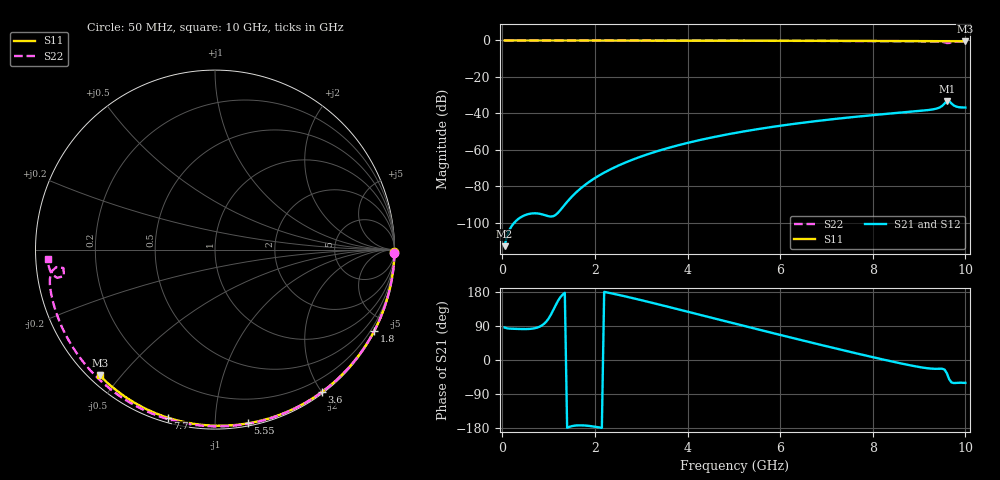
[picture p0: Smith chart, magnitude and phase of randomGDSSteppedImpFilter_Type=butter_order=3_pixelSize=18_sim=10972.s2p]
! freq	dB(S11)	phase(S11)	dB(S12)	phase(S12)
!  dB(S21)	phase(S21)	dB(S22)	phase(S22)
!S-par simulation data
#  GHz  S  DB  R 50
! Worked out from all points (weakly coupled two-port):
!   200 points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, 50 MHz to 10 GHz, reference 50 ohm
!   highest |S21| = -33.16 dB at 9.6 GHz (marker M1); lowest = -112.7 dB at 50 MHz (marker M2)
!   lowest |S11| = -0.4 dB at 10 GHz (marker M3), VSWR 39.00, Z = 1.53 - j22 ohm
!   |S11| at or under -10 dB: nowhere
!   |S22| runs from -1.4 to 0.0 dB; largest |S21 - S12| = 0
!   S11 on the Smith chart (normalised r, x): 50 MHz: open; 1.8 GHz: 0.04, -4.15; 3.6 GHz: 0.02, -2.00; 5.55 GHz: 0.02, -1.21; 7.7 GHz: 0.02, -0.76; 10 GHz: 0.03, -0.44
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0.05  -0.00 -0.8  -112.74 85.7  -112.74 85.7  -0.00 -1.1
0.85  -0.02 -12.9  -95.23 90.8  -95.23 90.8  -0.02 -17.7
1.75  -0.03 -26.4  -79.89 -172.7  -79.89 -172.7  -0.05 -36.0
1.8  -0.03 -27.1  -78.91 -173.1  -78.91 -173.1  -0.05 -37.0
2.1  -0.04 -31.5  -73.88 -178.0  -73.88 -178.0  -0.05 -43.0
2.5  -0.05 -37.4  -68.66 172.1  -68.66 172.1  -0.06 -50.9
2.9  -0.06 -43.1  -64.50 160.9  -64.50 160.9  -0.08 -58.6
3.4  -0.07 -50.2  -60.27 146.0  -60.27 146.0  -0.09 -68.0
3.6  -0.07 -53.0  -58.80 139.9  -58.80 139.9  -0.10 -71.7
4.3  -0.09 -62.7  -54.38 118.3  -54.38 118.3  -0.12 -84.4
5.05  -0.11 -72.7  -50.59 95.2  -50.59 95.2  -0.15 -97.4
5.55  -0.13 -79.2  -48.46 79.9  -48.46 79.9  -0.17 -105.9
6.7  -0.18 -93.7  -44.43 45.2  -44.43 45.2  -0.24 -124.9
7.7  -0.24 -105.8  -41.66 16.0  -41.66 16.0  -0.32 -141.0
8.35  -0.29 -113.4  -40.12 -2.2  -40.12 -2.2  -0.38 -151.5
9.35  -0.38 -125.0  -37.50 -23.3  -37.50 -23.3  -0.56 -168.9
9.5  -0.39 -126.7  -35.83 -23.0  -35.83 -23.0  -0.77 -172.6
9.6  -0.40 -127.8  -33.16 -35.0  -33.16 -35.0  -1.41 -173.1
9.65  -0.40 -128.4  -33.22 -50.9  -33.22 -50.9  -1.37 -170.1
9.7  -0.41 -129.0  -34.56 -59.2  -34.56 -59.2  -0.98 -169.8
9.8  -0.42 -130.2  -36.22 -60.5  -36.22 -60.5  -0.68 -172.5
10  -0.45 -132.4  -36.77 -60.5  -36.77 -60.5  -0.60 -176.9
